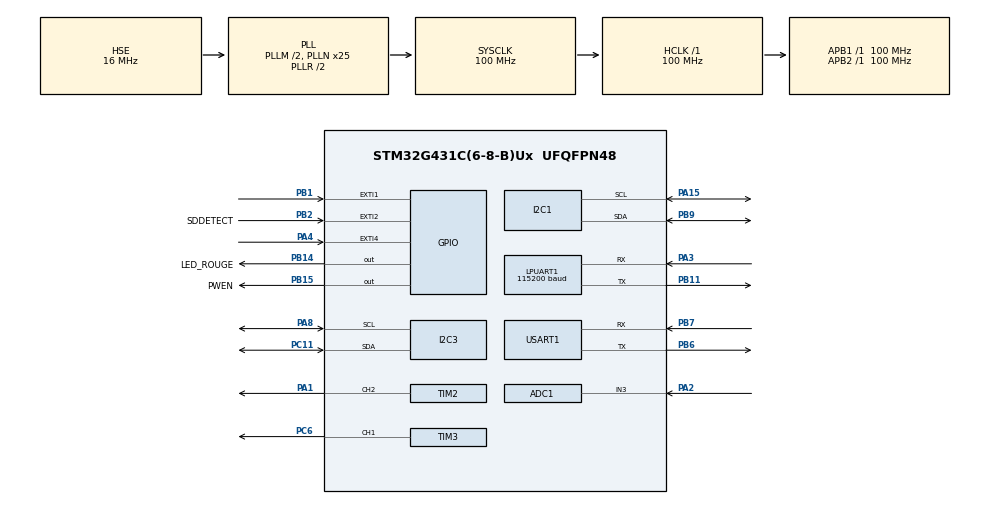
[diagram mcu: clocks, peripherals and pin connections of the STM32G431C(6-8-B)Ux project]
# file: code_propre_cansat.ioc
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ADC1.Channel-0\#ChannelRegularConversion=ADC_CHANNEL_VREFINT
ADC1.Channel-1\#ChannelRegularConversion=ADC_CHANNEL_TEMPSENSOR_ADC1
ADC1.Channel-2\#ChannelRegularConversion=ADC_CHANNEL_3
ADC1.ContinuousConvMode=ENABLE
ADC1.EOCSelection=ADC_EOC_SEQ_CONV
ADC1.NbrOfConversion=3
ADC1.NbrOfConversionFlag=1
ADC1.OffsetNumber-0\#ChannelRegularConversion=ADC_OFFSET_NONE
ADC1.OffsetNumber-1\#ChannelRegularConversion=ADC_OFFSET_NONE
ADC1.OffsetNumber-2\#ChannelRegularConversion=ADC_OFFSET_NONE
ADC1.Rank-0\#ChannelRegularConversion=1
ADC1.Rank-1\#ChannelRegularConversion=2
ADC1.Rank-2\#ChannelRegularConversion=3
ADC1.SamplingTime-0\#ChannelRegularConversion=ADC_SAMPLETIME_640CYCLES_5
ADC1.SamplingTime-1\#ChannelRegularConversion=ADC_SAMPLETIME_640CYCLES_5
ADC1.SamplingTime-2\#ChannelRegularConversion=ADC_SAMPLETIME_640CYCLES_5
ADC1.master=1
Dma.ADC1.0.Direction=DMA_PERIPH_TO_MEMORY
Dma.ADC1.0.EventEnable=DISABLE
Dma.ADC1.0.Instance=DMA1_Channel2
Dma.ADC1.0.MemDataAlignment=DMA_MDATAALIGN_HALFWORD
Dma.ADC1.0.MemInc=DMA_MINC_ENABLE
Dma.ADC1.0.Mode=DMA_CIRCULAR
Dma.ADC1.0.PeriphDataAlignment=DMA_PDATAALIGN_HALFWORD
Dma.ADC1.0.PeriphInc=DMA_PINC_DISABLE
Dma.ADC1.0.Polarity=HAL_DMAMUX_REQ_GEN_RISING
Dma.ADC1.0.Priority=DMA_PRIORITY_LOW
Dma.ADC1.0.RequestNumber=1
Dma.ADC1.0.SignalID=NONE
Dma.ADC1.0.SyncEnable=DISABLE
Dma.ADC1.0.SyncPolarity=HAL_DMAMUX_SYNC_NO_EVENT
Dma.ADC1.0.SyncRequestNumber=1
Dma.ADC1.0.SyncSignalID=NONE
Dma.LPUART1_RX.1.Direction=DMA_PERIPH_TO_MEMORY
Dma.LPUART1_RX.1.EventEnable=DISABLE
Dma.LPUART1_RX.1.Instance=DMA1_Channel3
Dma.LPUART1_RX.1.MemDataAlignment=DMA_MDATAALIGN_BYTE
Dma.LPUART1_RX.1.MemInc=DMA_MINC_ENABLE
Dma.LPUART1_RX.1.Mode=DMA_NORMAL
Dma.LPUART1_RX.1.PeriphDataAlignment=DMA_PDATAALIGN_BYTE
Dma.LPUART1_RX.1.PeriphInc=DMA_PINC_DISABLE
Dma.LPUART1_RX.1.Polarity=HAL_DMAMUX_REQ_GEN_RISING
Dma.LPUART1_RX.1.Priority=DMA_PRIORITY_LOW
Dma.LPUART1_RX.1.RequestNumber=1
Dma.LPUART1_RX.1.SignalID=NONE
Dma.LPUART1_RX.1.SyncEnable=DISABLE
Dma.LPUART1_RX.1.SyncPolarity=HAL_DMAMUX_SYNC_NO_EVENT
Dma.LPUART1_RX.1.SyncRequestNumber=1
Dma.LPUART1_RX.1.SyncSignalID=NONE
Dma.Request0=ADC1
Dma.Request1=LPUART1_RX
Dma.Request2=USART1_RX
Dma.Request3=TIM2_CH2
Dma.TIM2_CH2.3.Direction=DMA_MEMORY_TO_PERIPH
Dma.TIM2_CH2.3.EventEnable=DISABLE
Dma.TIM2_CH2.3.Instance=DMA1_Channel1
Dma.TIM2_CH2.3.MemDataAlignment=DMA_MDATAALIGN_BYTE
Dma.TIM2_CH2.3.MemInc=DMA_MINC_ENABLE
Dma.TIM2_CH2.3.Mode=DMA_CIRCULAR
Dma.TIM2_CH2.3.PeriphDataAlignment=DMA_PDATAALIGN_WORD
Dma.TIM2_CH2.3.PeriphInc=DMA_PINC_DISABLE
Dma.TIM2_CH2.3.Polarity=HAL_DMAMUX_REQ_GEN_RISING
Dma.TIM2_CH2.3.Priority=DMA_PRIORITY_LOW
Dma.TIM2_CH2.3.RequestNumber=1
Dma.TIM2_CH2.3.SignalID=NONE
Dma.TIM2_CH2.3.SyncEnable=DISABLE
Dma.TIM2_CH2.3.SyncPolarity=HAL_DMAMUX_SYNC_NO_EVENT
Dma.TIM2_CH2.3.SyncRequestNumber=1
Dma.TIM2_CH2.3.SyncSignalID=NONE
Dma.USART1_RX.2.Direction=DMA_PERIPH_TO_MEMORY
Dma.USART1_RX.2.EventEnable=DISABLE
Dma.USART1_RX.2.Instance=DMA1_Channel5
Dma.USART1_RX.2.MemDataAlignment=DMA_MDATAALIGN_BYTE
Dma.USART1_RX.2.MemInc=DMA_MINC_ENABLE
Dma.USART1_RX.2.Mode=DMA_NORMAL
Dma.USART1_RX.2.PeriphDataAlignment=DMA_PDATAALIGN_BYTE
Dma.USART1_RX.2.PeriphInc=DMA_PINC_DISABLE
Dma.USART1_RX.2.Polarity=HAL_DMAMUX_REQ_GEN_RISING
Dma.USART1_RX.2.Priority=DMA_PRIORITY_LOW
Dma.USART1_RX.2.RequestNumber=1
Dma.USART1_RX.2.SignalID=NONE
Dma.USART1_RX.2.SyncEnable=DISABLE
Dma.USART1_RX.2.SyncPolarity=HAL_DMAMUX_SYNC_NO_EVENT
Dma.USART1_RX.2.SyncRequestNumber=1
Dma.USART1_RX.2.SyncSignalID=NONE
I2C1.Timing=0x20B182BE
I2C3.Timing=0x20B182BE
LPUART1.BaudRate=115200
Mcu.Family=STM32G4
Mcu.Name=STM32G431C(6-8-B)Ux
Mcu.Package=UFQFPN48
NVIC.ADC1_2_IRQn=true\:0\:0\:false\:false\:true\:true\:true\:true
NVIC.DMA1_Channel1_IRQn=true\:0\:0\:false\:false\:true\:false\:true\:true
NVIC.DMA1_Channel2_IRQn=true\:0\:0\:false\:false\:true\:false\:true\:true
NVIC.DMA1_Channel3_IRQn=true\:0\:0\:false\:false\:true\:false\:true\:true
NVIC.DMA1_Channel5_IRQn=true\:0\:0\:false\:false\:true\:false\:true\:true
NVIC.EXTI1_IRQn=true\:0\:0\:false\:false\:true\:true\:true\:true
NVIC.EXTI4_IRQn=true\:0\:0\:false\:false\:true\:true\:true\:true
NVIC.LPUART1_IRQn=true\:0\:0\:false\:false\:true\:true\:true\:true
NVIC.PriorityGroup=NVIC_PRIORITYGROUP_4
NVIC.TIM3_IRQn=true\:0\:0\:false\:false\:true\:true\:true\:true
NVIC.TIM4_IRQn=true\:0\:0\:false\:false\:true\:true\:true\:true
NVIC.TIM6_DAC_IRQn=true\:0\:0\:false\:false\:true\:true\:true\:true
NVIC.USART1_IRQn=true\:0\:0\:false\:false\:true\:true\:true\:true
PA1.Signal=S_TIM2_CH2
PA13.Mode=Trace_Asynchronous_SW
PA13.Signal=SYS_JTMS-SWDIO
PA14.Mode=Trace_Asynchronous_SW
PA14.Signal=SYS_JTCK-SWCLK
PA15.Mode=I2C
PA15.Signal=I2C1_SCL
PA2.Mode=IN3-Single-Ended
PA2.Signal=ADC1_IN3
PA3.Mode=Asynchronous
PA3.Signal=LPUART1_RX
PA4.GPIO_ModeDefaultEXTI=GPIO_MODE_IT_RISING_FALLING
PA4.Signal=GPXTI4
PA8.Mode=I2C
PA8.Signal=I2C3_SCL
PB1.GPIO_ModeDefaultEXTI=GPIO_MODE_IT_RISING
PB1.GPIO_PuPd=GPIO_NOPULL
PB1.Signal=GPXTI1
PB11.Mode=Asynchronous
PB11.Signal=LPUART1_TX
PB14.GPIO_Label=LED_ROUGE
PB14.Signal=GPIO_Output
PB15.GPIO_Label=PWEN
PB15.Signal=GPIO_Output
PB2.GPIO_Label=SDDETECT
PB2.Signal=GPXTI2
PB3.Mode=Trace_Asynchronous_SW
PB3.Signal=SYS_JTDO-SWO
PB6.Mode=Asynchronous
PB6.Signal=USART1_TX
PB7.Mode=Asynchronous
PB7.Signal=USART1_RX
PB9.Mode=I2C
PB9.Signal=I2C1_SDA
PC11.Mode=I2C
PC11.Signal=I2C3_SDA
PC6.Signal=S_TIM3_CH1
PF0-OSC_IN.Mode=HSE-External-Oscillator
PF0-OSC_IN.Signal=RCC_OSC_IN
PF1-OSC_OUT.Mode=HSE-External-Oscillator
PF1-OSC_OUT.Signal=RCC_OSC_OUT
ProjectManager.HeapSize=0x200
ProjectManager.StackSize=0x400
ProjectManager.TargetToolchain=STM32CubeIDE
RCC.ADC12Freq_Value=100000000
RCC.AHBFreq_Value=100000000
RCC.APB1Freq_Value=100000000
RCC.APB1TimFreq_Value=100000000
RCC.APB2Freq_Value=100000000
RCC.APB2TimFreq_Value=100000000
RCC.CortexFreq_Value=100000000
RCC.EXTERNAL_CLOCK_VALUE=12288000
RCC.HCLKFreq_Value=100000000
RCC.HSE_VALUE=16000000
RCC.HSI48_VALUE=48000000
RCC.HSI_VALUE=16000000
RCC.LSE_VALUE=32768
RCC.PLLM=RCC_PLLM_DIV2
RCC.PLLN=25
RCC.PLLSourceVirtual=RCC_PLLSOURCE_HSE
RCC.SYSCLKFreq_VALUE=100000000
RCC.SYSCLKSource=RCC_SYSCLKSOURCE_PLLCLK
RCC.USBFreq_Value=100000000
RCC.VCOOutputFreq_Value=200000000
SH.S_TIM2_CH2.0=TIM2_CH2,PWM Generation2 CH2
SH.S_TIM3_CH1.0=TIM3_CH1,PWM Generation1 CH1
TIM2.Channel-PWM\ Generation2\ CH2=TIM_CHANNEL_2
TIM2.PeriodNoDither=125-1
TIM2.Prescaler=0
TIM3.AutoReloadPreload=TIM_AUTORELOAD_PRELOAD_ENABLE
TIM3.Channel-PWM\ Generation1\ CH1=TIM_CHANNEL_1
TIM3.PeriodNoDither=10000-1
TIM3.Prescaler=100-1
TIM4.AutoReloadPreload=TIM_AUTORELOAD_PRELOAD_ENABLE
TIM4.PeriodNoDither=10000-1
TIM4.Prescaler=100-1
TIM6.PeriodNoDither=10000-1
TIM6.Prescaler=1000-1
USART1.VirtualMode-Asynchronous=VM_ASYNC
VP_ADC1_TempSens_Input.Mode=IN-TempSens
VP_ADC1_Vref_Input.Mode=IN-Vrefint
VP_SYS_VS_DBSignals.Mode=DisableDeadBatterySignals
VP_TIM2_VS_ClockSourceINT.Mode=Internal
VP_TIM3_VS_ClockSourceINT.Mode=Internal
VP_TIM4_VS_ClockSourceINT.Mode=Internal
VP_TIM6_VS_ClockSourceINT.Mode=Enable_Timer
board=custom

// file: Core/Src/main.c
/* USER CODE BEGIN Header */
/**
  ******************************************************************************
  * @file           : main.c
  * @brief          : Main program body
  ******************************************************************************
  * @attention
  *
  * Copyright (c) 2025 STMicroelectronics.
  * All rights reserved.
  *
  * This software is licensed under terms that can be found in the LICENSE file
  * in the root directory of this software component.
  * If no LICENSE file comes with this software, it is provided AS-IS.
  *
  ******************************************************************************
  */
/* USER CODE END Header */
#include "main.h"
#include "adc.h"
#include "dma.h"
#include "i2c.h"
#include "usart.h"
#include "tim.h"
#include "gpio.h"

/* USER CODE BEGIN Includes */
#include "nmea_parse.h"
#include "bmp581.h"
#include "6axis.h"
#include "tarvos.h"
#include "led.h"
#include "statemachine.h"
#include "servo.h"
#include "ssd1306.h"
#include "math.h"
/* USER CODE END Includes */

/* USER CODE BEGIN PV */
int tbtn1=0;

uint16_t rawADCdata[3];
float temp=0;
float vrefint=0;
float vbat=0;

uint8_t tarvos_TX_Buffer[TarvosTxBufferSize];

uint8_t tarvos_RX_Buffer[TarvosRxBufferSize];
uint8_t tarvos_RX_Tampon[TarvosRxTamponSize];

uint8_t GPS_RX_Buffer[GPSRxBufferSize];
uint8_t GPS_RX_Tampon[GPSRxTamponSize];

int GPSbufferoldpos;
int GPSbuffernewpos;
int TarvosRXbufferoldpos;
int TarvosRXbuffernewpos;

GPS myDataGPS;
AXIS6 myData6AXIS;
BMP_t myDatabmp581;

uint8_t LEDDMABUF[DMABUFLEN];
uint8_t DMA_COMPLETE_FLAG=0;

uint8_t timestamp=0;

int gros_btn_time=0;

STATE state=IDLE;

int flag_drop = 0;

int hauteur_Initiale=0;
int flag_calib=0;

int pbmseeker=0;

/* USER CODE END PV */

void SystemClock_Config(void);

/* USER CODE BEGIN 0 */
void HAL_GPIO_EXTI_Callback(uint16_t GPIO_Pin)//lors d'un appuie sur un bouton, le systeme s'interrompt afin d'arriver dans cette fonction redefinie avec en parametre d'entre , le bouton sur lequel l'on a appuiyé
{
	if(GPIO_Pin==GPIO_PIN_4){
		if(HAL_GPIO_ReadPin(GPIOA,GPIO_PIN_4)== GPIO_PIN_SET){

						gros_btn_time=0;
						tbtn1=HAL_GetTick();

					}
					else{

						gros_btn_time=(HAL_GetTick()-tbtn1);

		if(gros_btn_time<=380){

			lock_mecanism();
			gros_btn_time=0;

							}
					if(gros_btn_time>=400 && gros_btn_time<=2000){

						release_mecanism();
						gros_btn_time=0;

					}
					if(gros_btn_time>=4000){
						hauteur_Initiale=myDatabmp581.altitude;
						flag_calib=1;
						gros_btn_time=0;

										}
					}

	}

//	if(GPIO_Pin==GPIO_PIN_0){
//		flag_drop=1;
//
//		}

	}
void HAL_TIM_PWM_PulseFinishedCallback(TIM_HandleTypeDef *htim){

	LED_Callback();
}
/* USER CODE END 0 */

int main(void)
{

  /* MCU Configuration--------------------------------------------------------*/

  /* Reset of all peripherals, Initializes the Flash interface and the Systick. */
  HAL_Init();

  /* Configure the system clock */
  SystemClock_Config();

  /* Initialize all configured peripherals */
  MX_GPIO_Init();
  MX_DMA_Init();
  MX_ADC1_Init();
  MX_I2C1_Init();
  MX_I2C3_Init();
  MX_LPUART1_UART_Init();
  MX_USART1_UART_Init();
  MX_TIM3_Init();
  MX_TIM4_Init();
  MX_TIM6_Init();
  MX_TIM2_Init();
  /* USER CODE BEGIN 2 */

  ssd1306_Init();
  ssd1306_Fill(Black);
  ssd1306_SetCursor(32, 40);
  ssd1306_WriteString("Init...", Font_7x10, White);
  ssd1306_UpdateScreen();

  if( HAL_TIM_Base_Start_IT(&htim4)!=HAL_OK){
	  ssd1306_Fill(Black);
	  ssd1306_WriteString("tim4pbm", Font_7x10, White);
	  ssd1306_UpdateScreen();
	  HAL_Delay(500);
	  pbmseeker=1;

  }

  if( HAL_TIM_Base_Start_IT(&htim6)!=HAL_OK){
	  ssd1306_Fill(Black);
	  ssd1306_WriteString("tim6pbm", Font_7x10, White);
	  ssd1306_UpdateScreen();
	  HAL_Delay(500);
	  pbmseeker=1;

  }

  if( Init_servo()!=HAL_OK){
 	  ssd1306_Fill(Black);
 	  ssd1306_WriteString("servopbm", Font_7x10, White);
 	  ssd1306_UpdateScreen();
 	  HAL_Delay(500);
 	 pbmseeker=1;

   }

  if(HAL_ADC_Start_DMA(&hadc1,(uint16_t*)rawADCdata, 3)!=HAL_OK){
 	  ssd1306_Fill(Black);
 	  ssd1306_WriteString("adcpbm", Font_7x10, White);
 	  ssd1306_UpdateScreen();
 	  HAL_Delay(500);
 	 pbmseeker=1;

   }

   HAL_Delay(100);
   HAL_UART_Abort(&huart1);

   if( HAL_UART_Receive_DMA(&huart1, (uint8_t *)GPS_RX_Tampon, GPSRxTamponSize)!=HAL_OK){
  	  ssd1306_Fill(Black);
  	  ssd1306_WriteString("gpspbm", Font_7x10, White);
  	  ssd1306_UpdateScreen();
  	  HAL_Delay(500);
  	pbmseeker=1;

    }

   HAL_Delay(100);
   HAL_UART_Abort(&hlpuart1);

   if(HAL_UART_Receive_DMA(&hlpuart1, (uint8_t *)tarvos_RX_Tampon, TarvosRxTamponSize)!=HAL_OK){
  	  ssd1306_Fill(Black);
  	  ssd1306_WriteString("tvsrxpbm", Font_7x10, White);
  	  ssd1306_UpdateScreen();
  	  HAL_Delay(500);
  	pbmseeker=1;

    }

  if(  LED_Init()!=HAL_OK){
 	  ssd1306_Fill(Black);
 	  ssd1306_WriteString("ledpbm", Font_7x10, White);
 	  ssd1306_UpdateScreen();
 	  HAL_Delay(500);
 	 pbmseeker=1;

   }
  Init_HighPerf_Mode_6_axis();

//
//  if(bmp581_init_precise_normal(&myDatabmp581)!=HAL_OK){
// 	  ssd1306_Fill(Black);
// 	  ssd1306_WriteString("bmp pbm", Font_7x10, White);
// 	  ssd1306_UpdateScreen();
// 	  HAL_Delay(500);
// 	 pbmseeker=1;
//
//
//   }

  //mon adresse est 1° et on envoit à 2°
  if( INIT_PERM_TARVOS(TOP_ADDR, GROUND_ADDR)!=HAL_OK){
 	  ssd1306_Fill(Black);
 	  ssd1306_WriteString("tvsaddrpbm", Font_7x10, White);
 	  ssd1306_UpdateScreen();
 	  HAL_Delay(500);
 	 pbmseeker=1;

   }

  HAL_GPIO_WritePin(PWEN_GPIO_Port,PWEN_Pin,GPIO_PIN_SET);
  HAL_GPIO_WritePin(LED_ROUGE_GPIO_Port,LED_ROUGE_Pin,GPIO_PIN_SET);

  if(pbmseeker==0){

	  ssd1306_Fill(Black);
	  ssd1306_WriteString("done!", Font_7x10, White);
	  ssd1306_UpdateScreen();
	  HAL_Delay(500);

  }
  if(pbmseeker==1){

	  ssd1306_Fill(Black);
	  ssd1306_WriteString("PROBLEM", Font_7x10, White);
	  ssd1306_UpdateScreen();
	  HAL_Delay(2000);

  }
  int r=0;
  int g=0;
  int b=0;
  int t=0;

  /* USER CODE END 2 */

  /* Infinite loop */
  /* USER CODE BEGIN WHILE */
  while (1)
  {
	  if(timestamp==1){

		  nmea_parse(&myDataGPS,(uint8_t*) GPS_RX_Buffer);
		  bmp581_read_precise_normal(&myDatabmp581);
		  Read_sensor_data(&myData6AXIS);

		  statemachine();
		  timestamp=0;

	  }
	  LED_Setcolour(r, g, b,r, g, b);
	  r=floor(abs(255*cosf((2*M_PI/255)*t)));
	  g=floor(abs(255*cosf((2*M_PI/255)*t+(180/M_PI))));
	  b=floor(abs(255*cosf((2*M_PI/255)*t+(270/M_PI))));

	  if(t>=255){
		  t=0;
	  }
	  t++;

	  LED_Update();

    /* USER CODE END WHILE */

  }
}

void SystemClock_Config(void)
{
  RCC_OscInitTypeDef RCC_OscInitStruct = {0};
  RCC_ClkInitTypeDef RCC_ClkInitStruct = {0};

  /** Configure the main internal regulator output voltage
  */
  HAL_PWREx_ControlVoltageScaling(PWR_REGULATOR_VOLTAGE_SCALE1);

  /** Initializes the RCC Oscillators according to the specified parameters
  * in the RCC_OscInitTypeDef structure.
  */
  RCC_OscInitStruct.OscillatorType = RCC_OSCILLATORTYPE_HSE;
  RCC_OscInitStruct.HSEState = RCC_HSE_ON;
  RCC_OscInitStruct.PLL.PLLState = RCC_PLL_ON;
  RCC_OscInitStruct.PLL.PLLSource = RCC_PLLSOURCE_HSE;
  RCC_OscInitStruct.PLL.PLLM = RCC_PLLM_DIV2;
  RCC_OscInitStruct.PLL.PLLN = 25;
  RCC_OscInitStruct.PLL.PLLP = RCC_PLLP_DIV2;
  RCC_OscInitStruct.PLL.PLLQ = RCC_PLLQ_DIV2;
  RCC_OscInitStruct.PLL.PLLR = RCC_PLLR_DIV2;
  if (HAL_RCC_OscConfig(&RCC_OscInitStruct) != HAL_OK)
  {
    Error_Handler();
  }

  /** Initializes the CPU, AHB and APB buses clocks
  */
  RCC_ClkInitStruct.ClockType = RCC_CLOCKTYPE_HCLK|RCC_CLOCKTYPE_SYSCLK
                              |RCC_CLOCKTYPE_PCLK1|RCC_CLOCKTYPE_PCLK2;
  RCC_ClkInitStruct.SYSCLKSource = RCC_SYSCLKSOURCE_PLLCLK;
  RCC_ClkInitStruct.AHBCLKDivider = RCC_SYSCLK_DIV1;
  RCC_ClkInitStruct.APB1CLKDivider = RCC_HCLK_DIV1;
  RCC_ClkInitStruct.APB2CLKDivider = RCC_HCLK_DIV1;

  if (HAL_RCC_ClockConfig(&RCC_ClkInitStruct, FLASH_LATENCY_3) != HAL_OK)
  {
    Error_Handler();
  }
}

void Error_Handler(void)
{
  __disable_irq();
  while (1)
  {
  }
}
